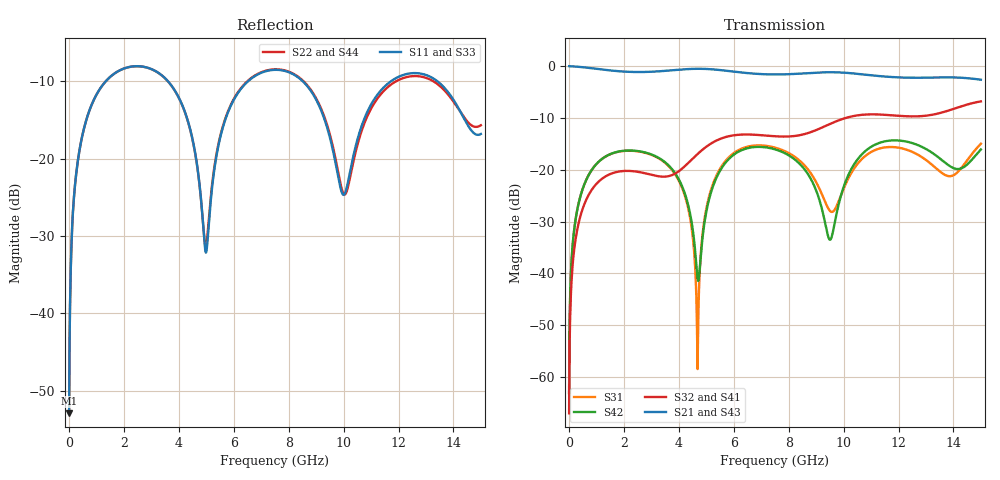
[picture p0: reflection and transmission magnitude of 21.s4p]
! Created with skrf 1.8.0 (http://scikit-rf.org).
# GHz S RI R 50.0
!freq ReS11 ImS11 ReS12 ImS12 ReS13 ImS13
! ReS14 ImS14
! ReS21 ImS21 ReS22 ImS22 ReS23 ImS23
! ReS24 ImS24
! ReS31 ImS31 ReS32 ImS32 ReS33 ImS33
! ReS34 ImS34
! ReS41 ImS41 ReS42 ImS42 ReS43 ImS43
! ReS44 ImS44
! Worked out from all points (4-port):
!   2499 points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, 5 MHz to 15 GHz, reference 50 ohm
!   strongest paths, dB at 5 MHz, 3.476 GHz, 7.19 GHz, 11.1 GHz, 15 GHz:
!     S21: 0.0, -0.9, -1.6, -1.8, -2.6
!     S43: 0.0, -0.9, -1.6, -1.8, -2.6
!     S32: -67.0, -21.3, -13.4, -9.3, -6.8
!     S41: -67.0, -21.3, -13.4, -9.3, -6.8
!     S42: -63.1, -18.5, -15.7, -15.3, -16.1
!     S31: -63.1, -18.6, -15.4, -16.3, -15.0
!   lowest |S11| = -52.9 dB at 5 MHz (marker M1), VSWR 1.00, Z = 50.2 + j0.138 ohm
!   |S11| at or under -10 dB: 3.6 GHz to 6.527 GHz (2.927 GHz wide, 57.8 % of centre); 8.506 GHz to 11.73 GHz (3.227 GHz wide, 31.9 % of centre); 13.41 GHz to end of sweep (the widest 3 of 4)
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0.005  0.0018 0.00137  0.9982 -0.0035  9e-05 0.000691  -8.76e-05 -0.000437
       0.9982 -0.0035  0.0018 0.00137  -8.76e-05 -0.000437  9.01e-05 0.000691
       9e-05 0.000691  -8.76e-05 -0.000437  0.0018 0.00137  0.9982 -0.0035
       -8.76e-05 -0.000437  9.01e-05 0.000691  0.9982 -0.0035  0.0018 0.00137
0.3126303  0.0281 0.0894  0.9616 -0.217  0.0126 0.0406  -0.0106 -0.0252
           0.9616 -0.217  0.0281 0.0894  -0.0106 -0.0252  0.0127 0.0405
           0.0126 0.0406  -0.0106 -0.0252  0.0281 0.0894  0.9616 -0.217
           -0.0106 -0.0252  0.0127 0.0405  0.9616 -0.217  0.0281 0.0894
1.419341  0.273 0.1789  0.5458 -0.7316  0.1242 0.0596  -0.0885 -0.00576
          0.5458 -0.7316  0.2727 0.1791  -0.0885 -0.00575  0.1253 0.058
          0.1242 0.0596  -0.0885 -0.00575  0.2729 0.1789  0.5459 -0.7316
          -0.0885 -0.00576  0.1253 0.058  0.5459 -0.7316  0.2726 0.1791
4.683201  0.0388 -0.077  -0.9076 -0.2512  0.00119 7.94e-05  -0.0334 0.1378
          -0.9076 -0.2512  0.0407 -0.0749  -0.0333 0.1378  -0.00843 -0.00295
          0.00119 7.94e-05  -0.0333 0.1378  0.0384 -0.0756  -0.9078 -0.2509
          -0.0334 0.1378  -0.00843 -0.00295  -0.9078 -0.2509  0.0403 -0.0735
5.896207  0.1475 0.1628  -0.7702 0.4484  0.1156 0.0743  0.1352 0.1639
          -0.7702 0.4484  0.1515 0.1632  0.1354 0.1638  0.1067 0.0787
          0.1156 0.0743  0.1354 0.1638  0.1485 0.1644  -0.7697 0.4483
          0.1352 0.1639  0.1067 0.0787  -0.7697 0.4483  0.1524 0.1648
10.07295  0.0594 0.0138  0.8577 0.0843  -0.00543 0.0723  0.0223 -0.3147
          0.8577 0.0843  0.0589 0.00462  0.0219 -0.3147  0.0192 0.0743
          -0.00543 0.0723  0.0219 -0.3147  0.0602 0.0113  0.8574 0.0874
          0.0223 -0.3147  0.0192 0.0743  0.8574 0.0874  0.0586 0.0021
15  0.144 -0.00096  -0.7203 -0.164  -0.0349 0.1746  -0.0951 0.4458
    -0.7203 -0.164  0.164 0.00133  -0.0948 0.4465  -0.0289 0.1541
    -0.0349 0.1746  -0.0948 0.4465  0.141 0.000118  -0.7193 -0.1694
    -0.0951 0.4458  -0.0289 0.1541  -0.7193 -0.1694  0.1664 0.00391
